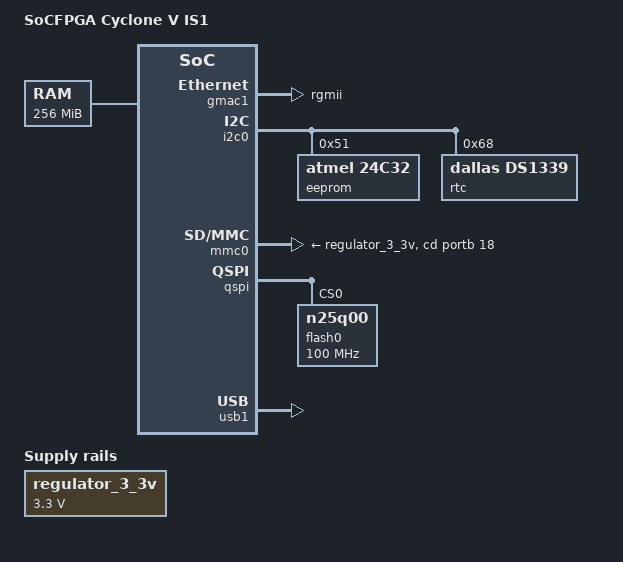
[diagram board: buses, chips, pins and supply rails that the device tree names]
// SPDX-License-Identifier: GPL-2.0+
/*
 *  Copyright (C) 2012 Altera Corporation <www.altera.com>
 */

#include "socfpga_cyclone5.dtsi"
#include "socfpga-common-u-boot.dtsi"

/ {
	model = "SoCFPGA Cyclone V IS1";
	compatible = "anonymous,socfpga-is1", "altr,socfpga-cyclone5", "altr,socfpga";

	chosen {
		bootargs = "console=ttyS0,115200";
		stdout-path = "serial0:115200n8";
	};

	memory {
		name = "memory";
		device_type = "memory";
		reg = <0x0 0x10000000>;
	};

	aliases {
		ethernet0 = &gmac1;
		udc0 = &usb1;
	};

	regulator_3_3v: 3-3-v-regulator {
		compatible = "regulator-fixed";
		regulator-name = "3.3V";
		regulator-min-microvolt = <3300000>;
		regulator-max-microvolt = <3300000>;
	};
};

&gmac1 {
	status = "okay";
	phy-mode = "rgmii";

	rxd0-skew-ps = <0>;
	rxd1-skew-ps = <0>;
	rxd2-skew-ps = <0>;
	rxd3-skew-ps = <0>;
	txen-skew-ps = <0>;
	txc-skew-ps = <1560>;
	rxdv-skew-ps = <0>;
	rxc-skew-ps = <1200>;
};

&gpio1 {
	status = "okay";
};

&porta {
	bank-name = "porta";
};

&i2c0 {
	status = "okay";

	eeprom@51 {
		compatible = "atmel,24c32";
		reg = <0x51>;
		pagesize = <32>;
	};

	rtc@68 {
		compatible = "dallas,ds1339";
		reg = <0x68>;
	};
};

&mmc0 {
	status = "okay";
	u-boot,dm-pre-reloc;

	cd-gpios = <&portb 18 0>;
	vmmc-supply = <&regulator_3_3v>;
	vqmmc-supply = <&regulator_3_3v>;
};

&qspi {
	status = "okay";
	u-boot,dm-pre-reloc;

	flash0: n25q00@0 {
		u-boot,dm-pre-reloc;
		#address-cells = <1>;
		#size-cells = <1>;
		compatible = "n25q00", "jedec,spi-nor";
		reg = <0>;      /* chip select */
		spi-max-frequency = <100000000>;
		m25p,fast-read;
		page-size = <256>;
		block-size = <16>; /* 2^16, 64KB */
		cdns,tshsl-ns = <50>;
		cdns,tsd2d-ns = <50>;
		cdns,tchsh-ns = <4>;
		cdns,tslch-ns = <4>;
	};
};

&usb1 {
	status = "okay";
};

&uart0 {
	u-boot,dm-pre-reloc;
};

&watchdog0 {
	status = "disabled";
};
